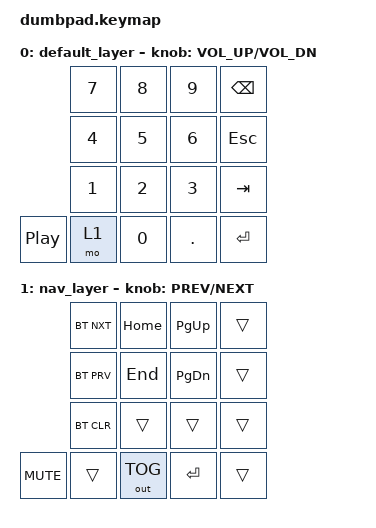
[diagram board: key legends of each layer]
/*
 * Copyright (c) 2020 The ZMK Contributors
 *
 * SPDX-License-Identifier: MIT
 */

#include <behaviors.dtsi>
#include <dt-bindings/zmk/keys.h>
#include <dt-bindings/zmk/bt.h>
#include <dt-bindings/zmk/outputs.h>

/ {
    keymap {
        compatible = "zmk,keymap";

        default_layer {
            bindings = <
                     &kp N7 &kp N8 &kp N9 &kp BSPC
                     &kp N4 &kp N5 &kp N6 &kp ESC
                     &kp N1 &kp N2 &kp N3 &kp TAB
            &kp C_PP &mo 1  &kp N0 &kp DOT &kp RET
            >;

            sensor-bindings = <&inc_dec_kp C_VOL_UP C_VOL_DN>;
        };

                nav_layer {
// -----------------------
// | BTNXT |  HOME  |  PGUP  |
// | BTPRV |  END   |  PGDN  |
// | BTCLR |  _     |  _     |
// | _     |  _     |  RET   |
// -----------------------
            bindings = <
                        &bt BT_NXT   &kp HOME     &kp PG_UP &trans
                        &bt BT_PRV   &kp END      &kp PG_DN &trans
                        &bt BT_CLR   &trans       &trans    &trans
            &kp C_MUTE  &trans       &out OUT_TOG &kp RET   &trans
            >;

                  sensor-bindings = <&inc_dec_kp C_PREV C_NEXT>;

        };
    };
};
